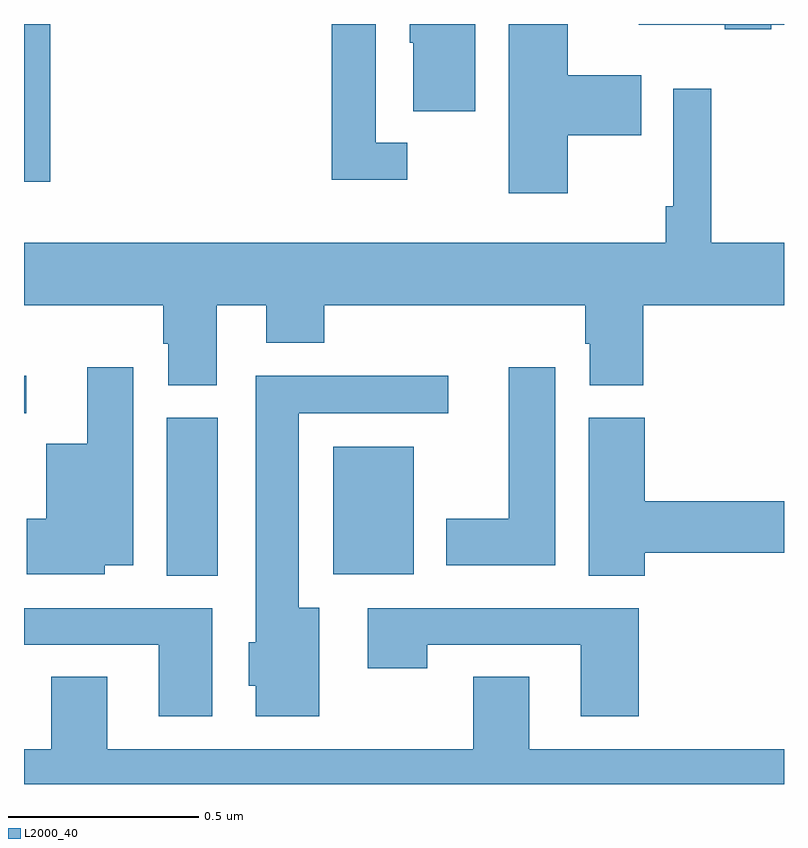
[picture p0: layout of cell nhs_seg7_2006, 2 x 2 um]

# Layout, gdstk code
import gdstk
lib = gdstk.Library(unit=1e-6, precision=1e-09)
def R(c, l, rs):  # rectangles x0, y0, x1, y1
    for r in rs: c.add(gdstk.rectangle(r[:2], r[2:], *l))
def P(c, l, *ps):  # polygons
    for p in ps: c.add(gdstk.Polygon(p, *l))
L2000_40 = (2000, 40)

nhs_seg7_2006 = lib.new_cell('nhs_seg7_2006')
R(nhs_seg7_2006, L2000_40, [(139.376,1022.548,139.51,1022.964), (139.814,1022.552,140.026,1022.887), (139,1022.976,139.006,1023.074), (139,1023.585,139.069,1024)])
P(nhs_seg7_2006, L2000_40, [(140.188,1024),(140.015,1024),(140.015,1023.951),(140.024,1023.951),(140.024,1023.771),(140.188,1023.771)],
  [(140.966,1023.998),(141,1023.998),(141,1024),(140.618,1024),(140.618,1023.998),(140.844,1023.998),(140.844,1023.986),(140.966,1023.986)],
  [(140.008,1023.687),(139.926,1023.687),(139.926,1024),(139.81,1024),(139.81,1023.59),(140.008,1023.59)],
  [(140.431,1023.707),(140.624,1023.707),(140.624,1023.865),(140.431,1023.865),(140.431,1024),(140.276,1024),(140.276,1023.555),(140.431,1023.555)],
  [(139.507,1023.26),(139.637,1023.26),(139.637,1023.161),(139.79,1023.161),(139.79,1023.26),(140.477,1023.26),(140.477,1023.159),(140.489,1023.159),(140.489,1023.049),(140.63,1023.049),(140.63,1023.26),(141,1023.26),(141,1023.424),(140.808,1023.424),(140.808,1023.829),(140.709,1023.829),(140.709,1023.52),(140.689,1023.52),(140.689,1023.424),(139,1023.424),(139,1023.26),(139.367,1023.26),(139.367,1023.159),(139.379,1023.159),(139.379,1023.049),(139.507,1023.049)],
  [(139.212,1022.576),(139.288,1022.576),(139.288,1023.097),(139.166,1023.097),(139.166,1022.896),(139.058,1022.896),(139.058,1022.698),(139.007,1022.698),(139.007,1022.552),(139.212,1022.552)],
  [(140.398,1023.097),(140.276,1023.097),(140.276,1022.698),(140.111,1022.698),(140.111,1022.576),(140.398,1022.576)],
  [(139.777,1022.464),(139.723,1022.464),(139.723,1022.976),(140.116,1022.976),(140.116,1023.074),(139.61,1023.074),(139.61,1022.373),(139.592,1022.373),(139.592,1022.259),(139.61,1022.259),(139.61,1022.178),(139.777,1022.178)],
  [(140.633,1022.608),(141,1022.608),(141,1022.744),(140.633,1022.744),(140.633,1022.964),(140.486,1022.964),(140.486,1022.548),(140.633,1022.548)],
  [(139.495,1022.463),(139,1022.463),(139,1022.367),(139.355,1022.367),(139.355,1022.178),(139.495,1022.178)],
  [(140.618,1022.463),(139.905,1022.463),(139.905,1022.304),(140.061,1022.304),(140.061,1022.367),(140.465,1022.367),(140.465,1022.178),(140.618,1022.178)],
  [(141,1022.092),(140.329,1022.092),(140.329,1022.282),(140.182,1022.282),(140.182,1022.092),(139.219,1022.092),(139.219,1022.282),(139.072,1022.282),(139.072,1022.092),(139,1022.092),(139,1022),(141,1022)])

lib.write_gds('nhs_seg7_2006.gds')
